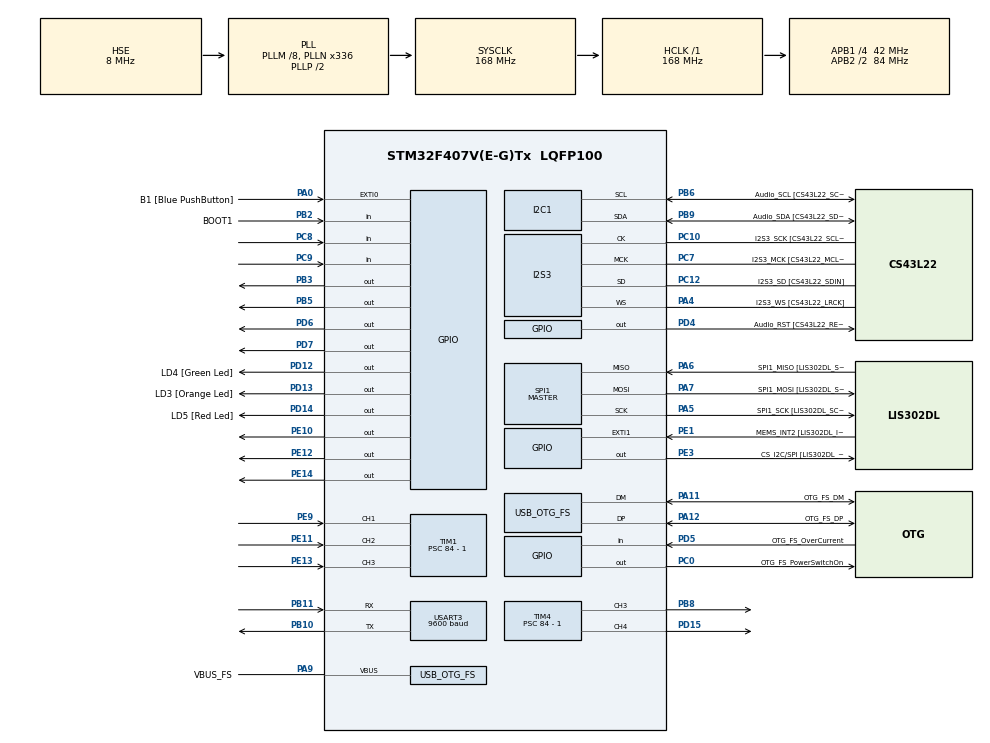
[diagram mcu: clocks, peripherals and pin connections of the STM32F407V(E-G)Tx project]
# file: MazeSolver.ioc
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I2S3.AudioFreq-Half_Duplex_Master=I2S_AUDIOFREQ_96K
I2S3.ErrorAudioFreq=-2.34 %
I2S3.ErrorAudioFreq-Half_Duplex_Master=0.8 %
I2S3.FullDuplexMode=I2S_FULLDUPLEXMODE_DISABLE
I2S3.Instance=SPI$Index
I2S3.RealAudioFreq=93.75 KHz
I2S3.RealAudioFreq-Half_Duplex_Master=96.774 KHz
I2S3.VirtualMode=I2S_MODE_MASTER
Mcu.Family=STM32F4
Mcu.Name=STM32F407V(E-G)Tx
Mcu.Package=LQFP100
NVIC.OTG_FS_IRQn=true\:0\:0\:false\:false\:true\:true\:true\:true
NVIC.PriorityGroup=NVIC_PRIORITYGROUP_0
NVIC.TIM1_CC_IRQn=true\:0\:0\:false\:false\:true\:true\:true\:true
NVIC.TIM4_IRQn=true\:0\:0\:false\:false\:true\:true\:true\:true
NVIC.USART3_IRQn=true\:0\:0\:false\:false\:true\:true\:true\:true
PA0-WKUP.GPIO_Label=B1 [Blue PushButton]
PA0-WKUP.GPIO_ModeDefaultEXTI=GPIO_MODE_EVT_RISING
PA0-WKUP.GPIO_PuPd=GPIO_NOPULL
PA0-WKUP.Signal=GPXTI0
PA10.GPIO_Label=OTG_FS_ID
PA10.GPIO_Mode=GPIO_MODE_AF_PP
PA10.GPIO_PuPd=GPIO_NOPULL
PA10.GPIO_Speed=GPIO_SPEED_FREQ_LOW
PA10.Signal=USB_OTG_FS_ID
PA11.GPIO_Label=OTG_FS_DM
PA11.GPIO_Mode=GPIO_MODE_AF_PP
PA11.GPIO_PuPd=GPIO_NOPULL
PA11.GPIO_Speed=GPIO_SPEED_FREQ_LOW
PA11.Mode=Host_Only
PA11.Signal=USB_OTG_FS_DM
PA12.GPIO_Label=OTG_FS_DP
PA12.GPIO_Mode=GPIO_MODE_AF_PP
PA12.GPIO_PuPd=GPIO_NOPULL
PA12.GPIO_Speed=GPIO_SPEED_FREQ_LOW
PA12.Mode=Host_Only
PA12.Signal=USB_OTG_FS_DP
PA13.GPIO_Label=SWDIO
PA13.Mode=Serial_Wire
PA13.Signal=SYS_JTMS-SWDIO
PA14.GPIO_Label=SWCLK
PA14.Mode=Serial_Wire
PA14.Signal=SYS_JTCK-SWCLK
PA4.GPIO_Label=I2S3_WS [CS43L22_LRCK]
PA4.GPIO_Mode=GPIO_MODE_AF_PP
PA4.GPIO_PuPd=GPIO_NOPULL
PA4.GPIO_Speed=GPIO_SPEED_FREQ_LOW
PA4.Mode=Half_Duplex_Master
PA4.Signal=I2S3_WS
PA5.GPIO_Label=SPI1_SCK [LIS302DL_SCL/SPC]
PA5.GPIO_Mode=GPIO_MODE_AF_PP
PA5.GPIO_PuPd=GPIO_NOPULL
PA5.GPIO_Speed=GPIO_SPEED_FREQ_LOW
PA5.Mode=Full_Duplex_Master
PA5.Signal=SPI1_SCK
PA6.GPIO_Label=SPI1_MISO [LIS302DL_SDO]
PA6.GPIO_Mode=GPIO_MODE_AF_PP
PA6.GPIO_PuPd=GPIO_NOPULL
PA6.GPIO_Speed=GPIO_SPEED_FREQ_LOW
PA6.Mode=Full_Duplex_Master
PA6.Signal=SPI1_MISO
PA7.GPIO_Label=SPI1_MOSI [LIS302DL_SDA/SDI/SDO]
PA7.GPIO_Mode=GPIO_MODE_AF_PP
PA7.GPIO_PuPd=GPIO_NOPULL
PA7.GPIO_Speed=GPIO_SPEED_FREQ_LOW
PA7.Mode=Full_Duplex_Master
PA7.Signal=SPI1_MOSI
PA9.GPIO_Label=VBUS_FS
PA9.GPIO_Mode=GPIO_MODE_INPUT
PA9.GPIO_PuPd=GPIO_NOPULL
PA9.Mode=Activate_VBUS
PA9.Signal=USB_OTG_FS_VBUS
PB10.Mode=Asynchronous
PB10.Signal=USART3_TX
PB11.Mode=Asynchronous
PB11.Signal=USART3_RX
PB2.GPIO_Label=BOOT1
PB2.GPIO_Mode=GPIO_MODE_INPUT
PB2.GPIO_PuPd=GPIO_NOPULL
PB2.Signal=GPIO_Input
PB3.Signal=GPIO_Output
PB5.Signal=GPIO_Output
PB6.GPIO_Label=Audio_SCL [CS43L22_SCL]
PB6.GPIO_Mode=GPIO_MODE_AF_OD
PB6.GPIO_Pu=GPIO_PULLUP
PB6.GPIO_PuPd=GPIO_NOPULL
PB6.GPIO_Speed=GPIO_SPEED_FREQ_LOW
PB6.Mode=I2C
PB6.Signal=I2C1_SCL
PB8.Signal=S_TIM4_CH3
PB9.GPIO_Label=Audio_SDA [CS43L22_SDA]
PB9.GPIO_Mode=GPIO_MODE_AF_OD
PB9.GPIO_Pu=GPIO_PULLUP
PB9.GPIO_PuPd=GPIO_NOPULL
PB9.GPIO_Speed=GPIO_SPEED_FREQ_LOW
PB9.Mode=I2C
PB9.Signal=I2C1_SDA
PC0.GPIO_Label=OTG_FS_PowerSwitchOn
PC0.GPIO_PuPd=GPIO_NOPULL
PC0.GPIO_Speed=GPIO_SPEED_FREQ_LOW
PC0.PinState=GPIO_PIN_SET
PC0.Signal=GPIO_Output
PC10.GPIO_Label=I2S3_SCK [CS43L22_SCLK]
PC10.GPIO_Mode=GPIO_MODE_AF_PP
PC10.GPIO_PuPd=GPIO_NOPULL
PC10.GPIO_Speed=GPIO_SPEED_FREQ_LOW
PC10.Mode=Half_Duplex_Master
PC10.Signal=I2S3_CK
PC12.GPIO_Label=I2S3_SD [CS43L22_SDIN]
PC12.GPIO_Mode=GPIO_MODE_AF_PP
PC12.GPIO_PuPd=GPIO_NOPULL
PC12.GPIO_Speed=GPIO_SPEED_FREQ_LOW
PC12.Mode=Half_Duplex_Master
PC12.Signal=I2S3_SD
PC14-OSC32_IN.GPIO_Label=PC14-OSC32_IN
PC14-OSC32_IN.Mode=LSE-External-Oscillator
PC14-OSC32_IN.Signal=RCC_OSC32_IN
PC15-OSC32_OUT.GPIO_Label=PC15-OSC32_OUT
PC15-OSC32_OUT.Mode=LSE-External-Oscillator
PC15-OSC32_OUT.Signal=RCC_OSC32_OUT
PC3.GPIO_Label=PDM_OUT [MP45DT02_DOUT]
PC3.GPIO_Mode=GPIO_MODE_AF_PP
PC3.GPIO_PuPd=GPIO_NOPULL
PC3.GPIO_Speed=GPIO_SPEED_FREQ_LOW
PC3.Signal=I2S2_SD
PC7.GPIO_Label=I2S3_MCK [CS43L22_MCLK]
PC7.GPIO_Mode=GPIO_MODE_AF_PP
PC7.GPIO_PuPd=GPIO_NOPULL
PC7.GPIO_Speed=GPIO_SPEED_FREQ_LOW
PC7.Mode=Master_Clock_Activated
PC7.Signal=I2S3_MCK
PC8.Signal=GPIO_Input
PC9.Signal=GPIO_Input
PD12.GPIO_Label=LD4 [Green Led]
PD12.GPIO_PuPd=GPIO_NOPULL
PD12.GPIO_Speed=GPIO_SPEED_FREQ_LOW
PD12.Signal=GPIO_Output
PD13.GPIO_Label=LD3 [Orange Led]
PD13.GPIO_PuPd=GPIO_NOPULL
PD13.GPIO_Speed=GPIO_SPEED_FREQ_LOW
PD13.Signal=GPIO_Output
PD14.GPIO_Label=LD5 [Red Led]
PD14.GPIO_PuPd=GPIO_NOPULL
PD14.GPIO_Speed=GPIO_SPEED_FREQ_LOW
PD14.Signal=GPIO_Output
PD15.Signal=S_TIM4_CH4
PD4.GPIO_Label=Audio_RST [CS43L22_RESET]
PD4.GPIO_PuPd=GPIO_NOPULL
PD4.GPIO_Speed=GPIO_SPEED_FREQ_LOW
PD4.Signal=GPIO_Output
PD5.GPIO_Label=OTG_FS_OverCurrent
PD5.GPIO_Mode=GPIO_MODE_INPUT
PD5.GPIO_PuPd=GPIO_NOPULL
PD5.Signal=GPIO_Input
PD6.Signal=GPIO_Output
PD7.Signal=GPIO_Output
PE1.GPIO_Label=MEMS_INT2 [LIS302DL_INT2]
PE1.GPIO_ModeDefaultEXTI=GPIO_MODE_EVT_RISING
PE1.GPIO_PuPd=GPIO_NOPULL
PE1.Signal=GPXTI1
PE10.Signal=GPIO_Output
PE11.Signal=S_TIM1_CH2
PE12.Signal=GPIO_Output
PE13.Signal=S_TIM1_CH3
PE14.Signal=GPIO_Output
PE3.GPIO_Label=CS_I2C/SPI [LIS302DL_CS_I2C/SPI]
PE3.GPIO_PuPd=GPIO_NOPULL
PE3.GPIO_Speed=GPIO_SPEED_FREQ_LOW
PE3.Signal=GPIO_Output
PE9.Signal=S_TIM1_CH1
PH0-OSC_IN.GPIO_Label=PH0-OSC_IN
PH0-OSC_IN.Mode=HSE-External-Oscillator
PH0-OSC_IN.Signal=RCC_OSC_IN
PH1-OSC_OUT.GPIO_Label=PH1-OSC_OUT
PH1-OSC_OUT.Mode=HSE-External-Oscillator
PH1-OSC_OUT.Signal=RCC_OSC_OUT
ProjectManager.HeapSize=0x200
ProjectManager.StackSize=0x400
ProjectManager.TargetToolchain=STM32CubeIDE
RCC.48MHZClocksFreq_Value=48000000
RCC.AHBFreq_Value=168000000
RCC.APB1CLKDivider=RCC_HCLK_DIV4
RCC.APB1Freq_Value=42000000
RCC.APB1TimFreq_Value=84000000
RCC.APB2CLKDivider=RCC_HCLK_DIV2
RCC.APB2Freq_Value=84000000
RCC.APB2TimFreq_Value=168000000
RCC.CortexFreq_Value=168000000
RCC.HCLKFreq_Value=168000000
RCC.HSE_VALUE=8000000
RCC.HSI_VALUE=16000000
RCC.PLLM=8
RCC.PLLN=336
RCC.PLLQ=7
RCC.SYSCLKFreq_VALUE=168000000
RCC.SYSCLKSource=RCC_SYSCLKSOURCE_PLLCLK
RCC.VCOOutputFreq_Value=336000000
SH.S_TIM1_CH1.0=TIM1_CH1,Input_Capture1_from_TI1
SH.S_TIM1_CH2.0=TIM1_CH2,Input_Capture2_from_TI2
SH.S_TIM1_CH3.0=TIM1_CH3,Input_Capture3_from_TI3
SH.S_TIM4_CH3.0=TIM4_CH3,PWM Generation3 CH3
SH.S_TIM4_CH4.0=TIM4_CH4,PWM Generation4 CH4
SPI1.BaudRatePrescaler-Full_Duplex_Master=SPI_BAUDRATEPRESCALER_2
SPI1.CalculateBaudRate-Full_Duplex_Master=42.0 MBits/s
SPI1.Direction=SPI_DIRECTION_2LINES
SPI1.Mode=SPI_MODE_MASTER
SPI1.Mode-Full_Duplex_Master=SPI_MODE_MASTER
SPI1.VirtualType=VM_MASTER
TIM1.Channel-Input_Capture1_from_TI1=TIM_CHANNEL_1
TIM1.Channel-Input_Capture2_from_TI2=TIM_CHANNEL_2
TIM1.Channel-Input_Capture3_from_TI3=TIM_CHANNEL_3
TIM1.Prescaler=84 - 1
TIM4.Channel-PWM\ Generation3\ CH3=TIM_CHANNEL_3
TIM4.Channel-PWM\ Generation4\ CH4=TIM_CHANNEL_4
TIM4.Prescaler=84 - 1
USART3.BaudRate=9600
USART3.VirtualMode=VM_ASYNC
USB_HOST.BSP.number=1
USB_HOST.USBH_HandleTypeDef-CDC_FS=hUsbHostFS
USB_HOST.VirtualModeFS=Cdc
USB_HOST0.BSP.STBoard=false
USB_HOST0.BSP.api=Unknown
USB_HOST0.BSP.instance=PC0
USB_HOST0.BSP.ip=GPIO
USB_HOST0.BSP.mode=Output
USB_HOST0.BSP.name=Drive_VBUS_FS
USB_HOST0.BSP.solution=PC0
USB_OTG_FS.VirtualMode=Host_Only
USB_OTG_FS.phy_itface=HCD_PHY_EMBEDDED
VP_TIM1_VS_ClockSourceINT.Mode=Internal
VP_USB_HOST_VS_USB_HOST_CDC_FS.Mode=CDC_FS
board=STM32F407G-DISC1

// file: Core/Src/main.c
/* USER CODE BEGIN Header */
/**
  ******************************************************************************
  * @file           : main.c
  * @brief          : Main program body
  ******************************************************************************
  * @attention
  *
  * Copyright (c) 2024 STMicroelectronics.
  * All rights reserved.
  *
  * This software is licensed under terms that can be found in the LICENSE file
  * in the root directory of this software component.
  * If no LICENSE file comes with this software, it is provided AS-IS.
  *
  ******************************************************************************
  */
/* USER CODE END Header */
#include "main.h"
#include "usb_host.h"

/* USER CODE BEGIN Includes */
#include "print.h"
#include "readUltraSoundSensor.h"
#include "motoare.h"
/* USER CODE END Includes */

I2C_HandleTypeDef hi2c1;

I2S_HandleTypeDef hi2s3;

SPI_HandleTypeDef hspi1;

TIM_HandleTypeDef htim1;
TIM_HandleTypeDef htim4;

UART_HandleTypeDef huart3;

void SystemClock_Config(void);
static void MX_GPIO_Init(void);
static void MX_I2C1_Init(void);
static void MX_I2S3_Init(void);
static void MX_SPI1_Init(void);
static void MX_USART3_UART_Init(void);
static void MX_TIM1_Init(void);
static void MX_TIM4_Init(void);
void MX_USB_HOST_Process(void);

int main(void)
{

  /* MCU Configuration--------------------------------------------------------*/

  /* Reset of all peripherals, Initializes the Flash interface and the Systick. */
  HAL_Init();

  /* Configure the system clock */
  SystemClock_Config();

  /* Initialize all configured peripherals */
  MX_GPIO_Init();
  MX_I2C1_Init();
  MX_I2S3_Init();
  MX_SPI1_Init();
  MX_USB_HOST_Init();
  MX_USART3_UART_Init();
  MX_TIM1_Init();
  MX_TIM4_Init();
  /* USER CODE BEGIN 2 */
	HAL_TIM_IC_Start_IT(&htim1, TIM_CHANNEL_1);
	HAL_TIM_IC_Start_IT(&htim1, TIM_CHANNEL_2);
	HAL_TIM_IC_Start_IT(&htim1, TIM_CHANNEL_3);

	HAL_TIM_PWM_Start(&htim4 , TIM_CHANNEL_3);
	HAL_TIM_PWM_Start(&htim4 , TIM_CHANNEL_4);
  //uint8_t ce_primesc;
  //GPIO_PinState pinState;

	int i = 1 , j = 10 ;
  /* USER CODE END 2 */

  /* Infinite loop */
  while (1)
  {
    MX_USB_HOST_Process();

    /* USER CODE BEGIN 3 */

    //HAL_UART_Transmit(&huart3, (uint8_t *)"hello\r\n", 7, HAL_MAX_DELAY);
//    printf("Hello HC-05\r\n");

//    pinState = HAL_GPIO_ReadPin(GPIOA,GPIO_PIN_3);
//   	  if(pinState == GPIO_PIN_RESET){
//   		  HAL_GPIO_WritePin(GPIOD,GPIO_PIN_15,GPIO_PIN_SET);
//   		HAL_GPIO_WritePin(GPIOD,GPIO_PIN_14,GPIO_PIN_SET);
//   	  }else{
//   		  HAL_GPIO_WritePin(GPIOD,GPIO_PIN_15,GPIO_PIN_RESET);
//   		HAL_GPIO_WritePin(GPIOD,GPIO_PIN_14,GPIO_PIN_RESET);
//   	  }

//    if(HAL_GPIO_ReadPin(GPIOC,GPIO_PIN_8) == GPIO_PIN_RESET ){
//    	i-- ;
//    }
//    if(HAL_GPIO_ReadPin(GPIOC,GPIO_PIN_9) == GPIO_PIN_RESET ){
//        	j-- ;
//        }
//    if(i > 0 || j > 0){
//    	mersInainte(5);
//    }else {
//    	stopMotoare();
//    }

//    curbaDreapta(25);
//    HAL_Delay(1000);
//    stopMotoare();
//    HAL_Delay(100);
//    curbaStanga(25);
//    HAL_Delay(1000);
//    stopMotoare();

    mersInainte(75);
    //return 0;

//    uint8_t putere = 100;
//    mersInainte(putere);
//    for(int i = 0 ; i <= 100 ; i++){
//  	  mersInainte(i);
//  	  HAL_Delay(50);
//    }
//    for(int i = 100 ; i >= 1 ; i--){
//    	  mersInainte(i);
//    	  HAL_Delay(50);
//      }

    HCSR04_Read(1);
    HCSR04_Read(2);
    HCSR04_Read(3);
    printf("S1 : %d			S2 : %d			S3 : %d\r\n",Distance1,Distance2,Distance3);
    HAL_Delay(100);
  }
  /* USER CODE END 3 */
}

void SystemClock_Config(void)
{
  RCC_OscInitTypeDef RCC_OscInitStruct = {0};
  RCC_ClkInitTypeDef RCC_ClkInitStruct = {0};

  /** Configure the main internal regulator output voltage
  */
  __HAL_RCC_PWR_CLK_ENABLE();
  __HAL_PWR_VOLTAGESCALING_CONFIG(PWR_REGULATOR_VOLTAGE_SCALE1);

  /** Initializes the RCC Oscillators according to the specified parameters
  * in the RCC_OscInitTypeDef structure.
  */
  RCC_OscInitStruct.OscillatorType = RCC_OSCILLATORTYPE_HSE;
  RCC_OscInitStruct.HSEState = RCC_HSE_ON;
  RCC_OscInitStruct.PLL.PLLState = RCC_PLL_ON;
  RCC_OscInitStruct.PLL.PLLSource = RCC_PLLSOURCE_HSE;
  RCC_OscInitStruct.PLL.PLLM = 8;
  RCC_OscInitStruct.PLL.PLLN = 336;
  RCC_OscInitStruct.PLL.PLLP = RCC_PLLP_DIV2;
  RCC_OscInitStruct.PLL.PLLQ = 7;
  if (HAL_RCC_OscConfig(&RCC_OscInitStruct) != HAL_OK)
  {
    Error_Handler();
  }

  /** Initializes the CPU, AHB and APB buses clocks
  */
  RCC_ClkInitStruct.ClockType = RCC_CLOCKTYPE_HCLK|RCC_CLOCKTYPE_SYSCLK
                              |RCC_CLOCKTYPE_PCLK1|RCC_CLOCKTYPE_PCLK2;
  RCC_ClkInitStruct.SYSCLKSource = RCC_SYSCLKSOURCE_PLLCLK;
  RCC_ClkInitStruct.AHBCLKDivider = RCC_SYSCLK_DIV1;
  RCC_ClkInitStruct.APB1CLKDivider = RCC_HCLK_DIV4;
  RCC_ClkInitStruct.APB2CLKDivider = RCC_HCLK_DIV2;

  if (HAL_RCC_ClockConfig(&RCC_ClkInitStruct, FLASH_LATENCY_5) != HAL_OK)
  {
    Error_Handler();
  }
}

static void MX_I2C1_Init(void)
{

  hi2c1.Instance = I2C1;
  hi2c1.Init.ClockSpeed = 100000;
  hi2c1.Init.DutyCycle = I2C_DUTYCYCLE_2;
  hi2c1.Init.OwnAddress1 = 0;
  hi2c1.Init.AddressingMode = I2C_ADDRESSINGMODE_7BIT;
  hi2c1.Init.DualAddressMode = I2C_DUALADDRESS_DISABLE;
  hi2c1.Init.OwnAddress2 = 0;
  hi2c1.Init.GeneralCallMode = I2C_GENERALCALL_DISABLE;
  hi2c1.Init.NoStretchMode = I2C_NOSTRETCH_DISABLE;
  if (HAL_I2C_Init(&hi2c1) != HAL_OK)
  {
    Error_Handler();
  }

}

static void MX_I2S3_Init(void)
{

  hi2s3.Instance = SPI3;
  hi2s3.Init.Mode = I2S_MODE_MASTER_TX;
  hi2s3.Init.Standard = I2S_STANDARD_PHILIPS;
  hi2s3.Init.DataFormat = I2S_DATAFORMAT_16B;
  hi2s3.Init.MCLKOutput = I2S_MCLKOUTPUT_ENABLE;
  hi2s3.Init.AudioFreq = I2S_AUDIOFREQ_96K;
  hi2s3.Init.CPOL = I2S_CPOL_LOW;
  hi2s3.Init.ClockSource = I2S_CLOCK_PLL;
  hi2s3.Init.FullDuplexMode = I2S_FULLDUPLEXMODE_DISABLE;
  if (HAL_I2S_Init(&hi2s3) != HAL_OK)
  {
    Error_Handler();
  }

}

static void MX_SPI1_Init(void)
{

  /* SPI1 parameter configuration*/
  hspi1.Instance = SPI1;
  hspi1.Init.Mode = SPI_MODE_MASTER;
  hspi1.Init.Direction = SPI_DIRECTION_2LINES;
  hspi1.Init.DataSize = SPI_DATASIZE_8BIT;
  hspi1.Init.CLKPolarity = SPI_POLARITY_LOW;
  hspi1.Init.CLKPhase = SPI_PHASE_1EDGE;
  hspi1.Init.NSS = SPI_NSS_SOFT;
  hspi1.Init.BaudRatePrescaler = SPI_BAUDRATEPRESCALER_2;
  hspi1.Init.FirstBit = SPI_FIRSTBIT_MSB;
  hspi1.Init.TIMode = SPI_TIMODE_DISABLE;
  hspi1.Init.CRCCalculation = SPI_CRCCALCULATION_DISABLE;
  hspi1.Init.CRCPolynomial = 10;
  if (HAL_SPI_Init(&hspi1) != HAL_OK)
  {
    Error_Handler();
  }

}

static void MX_TIM1_Init(void)
{

  TIM_ClockConfigTypeDef sClockSourceConfig = {0};
  TIM_MasterConfigTypeDef sMasterConfig = {0};
  TIM_IC_InitTypeDef sConfigIC = {0};

  htim1.Instance = TIM1;
  htim1.Init.Prescaler = 84 - 1;
  htim1.Init.CounterMode = TIM_COUNTERMODE_UP;
  htim1.Init.Period = 65535;
  htim1.Init.ClockDivision = TIM_CLOCKDIVISION_DIV1;
  htim1.Init.RepetitionCounter = 0;
  htim1.Init.AutoReloadPreload = TIM_AUTORELOAD_PRELOAD_DISABLE;
  if (HAL_TIM_Base_Init(&htim1) != HAL_OK)
  {
    Error_Handler();
  }
  sClockSourceConfig.ClockSource = TIM_CLOCKSOURCE_INTERNAL;
  if (HAL_TIM_ConfigClockSource(&htim1, &sClockSourceConfig) != HAL_OK)
  {
    Error_Handler();
  }
  if (HAL_TIM_IC_Init(&htim1) != HAL_OK)
  {
    Error_Handler();
  }
  sMasterConfig.MasterOutputTrigger = TIM_TRGO_RESET;
  sMasterConfig.MasterSlaveMode = TIM_MASTERSLAVEMODE_DISABLE;
  if (HAL_TIMEx_MasterConfigSynchronization(&htim1, &sMasterConfig) != HAL_OK)
  {
    Error_Handler();
  }
  sConfigIC.ICPolarity = TIM_INPUTCHANNELPOLARITY_RISING;
  sConfigIC.ICSelection = TIM_ICSELECTION_DIRECTTI;
  sConfigIC.ICPrescaler = TIM_ICPSC_DIV1;
  sConfigIC.ICFilter = 0;
  if (HAL_TIM_IC_ConfigChannel(&htim1, &sConfigIC, TIM_CHANNEL_1) != HAL_OK)
  {
    Error_Handler();
  }
  if (HAL_TIM_IC_ConfigChannel(&htim1, &sConfigIC, TIM_CHANNEL_2) != HAL_OK)
  {
    Error_Handler();
  }
  if (HAL_TIM_IC_ConfigChannel(&htim1, &sConfigIC, TIM_CHANNEL_3) != HAL_OK)
  {
    Error_Handler();
  }

}

static void MX_TIM4_Init(void)
{

  TIM_MasterConfigTypeDef sMasterConfig = {0};
  TIM_OC_InitTypeDef sConfigOC = {0};

  htim4.Instance = TIM4;
  htim4.Init.Prescaler = 84 - 1;
  htim4.Init.CounterMode = TIM_COUNTERMODE_UP;
  htim4.Init.Period = 65535;
  htim4.Init.ClockDivision = TIM_CLOCKDIVISION_DIV1;
  htim4.Init.AutoReloadPreload = TIM_AUTORELOAD_PRELOAD_DISABLE;
  if (HAL_TIM_PWM_Init(&htim4) != HAL_OK)
  {
    Error_Handler();
  }
  sMasterConfig.MasterOutputTrigger = TIM_TRGO_RESET;
  sMasterConfig.MasterSlaveMode = TIM_MASTERSLAVEMODE_DISABLE;
  if (HAL_TIMEx_MasterConfigSynchronization(&htim4, &sMasterConfig) != HAL_OK)
  {
    Error_Handler();
  }
  sConfigOC.OCMode = TIM_OCMODE_PWM1;
  sConfigOC.Pulse = 0;
  sConfigOC.OCPolarity = TIM_OCPOLARITY_HIGH;
  sConfigOC.OCFastMode = TIM_OCFAST_DISABLE;
  if (HAL_TIM_PWM_ConfigChannel(&htim4, &sConfigOC, TIM_CHANNEL_3) != HAL_OK)
  {
    Error_Handler();
  }
  if (HAL_TIM_PWM_ConfigChannel(&htim4, &sConfigOC, TIM_CHANNEL_4) != HAL_OK)
  {
    Error_Handler();
  }
  HAL_TIM_MspPostInit(&htim4);

}

static void MX_USART3_UART_Init(void)
{

  huart3.Instance = USART3;
  huart3.Init.BaudRate = 9600;
  huart3.Init.WordLength = UART_WORDLENGTH_8B;
  huart3.Init.StopBits = UART_STOPBITS_1;
  huart3.Init.Parity = UART_PARITY_NONE;
  huart3.Init.Mode = UART_MODE_TX_RX;
  huart3.Init.HwFlowCtl = UART_HWCONTROL_NONE;
  huart3.Init.OverSampling = UART_OVERSAMPLING_16;
  if (HAL_UART_Init(&huart3) != HAL_OK)
  {
    Error_Handler();
  }

}

static void MX_GPIO_Init(void)
{
  GPIO_InitTypeDef GPIO_InitStruct = {0};

  /* GPIO Ports Clock Enable */
  __HAL_RCC_GPIOE_CLK_ENABLE();
  __HAL_RCC_GPIOC_CLK_ENABLE();
  __HAL_RCC_GPIOH_CLK_ENABLE();
  __HAL_RCC_GPIOA_CLK_ENABLE();
  __HAL_RCC_GPIOB_CLK_ENABLE();
  __HAL_RCC_GPIOD_CLK_ENABLE();

  /*Configure GPIO pin Output Level */
  HAL_GPIO_WritePin(GPIOE, CS_I2C_SPI_Pin|GPIO_PIN_10|GPIO_PIN_12|GPIO_PIN_14, GPIO_PIN_RESET);

  /*Configure GPIO pin Output Level */
  HAL_GPIO_WritePin(OTG_FS_PowerSwitchOn_GPIO_Port, OTG_FS_PowerSwitchOn_Pin, GPIO_PIN_SET);

  /*Configure GPIO pin Output Level */
  HAL_GPIO_WritePin(GPIOD, LD4_Pin|LD3_Pin|LD5_Pin|Audio_RST_Pin
                          |GPIO_PIN_6|GPIO_PIN_7, GPIO_PIN_RESET);

  /*Configure GPIO pin Output Level */
  HAL_GPIO_WritePin(GPIOB, GPIO_PIN_3|GPIO_PIN_5, GPIO_PIN_RESET);

  /*Configure GPIO pins : CS_I2C_SPI_Pin PE10 PE12 PE14 */
  GPIO_InitStruct.Pin = CS_I2C_SPI_Pin|GPIO_PIN_10|GPIO_PIN_12|GPIO_PIN_14;
  GPIO_InitStruct.Mode = GPIO_MODE_OUTPUT_PP;
  GPIO_InitStruct.Pull = GPIO_NOPULL;
  GPIO_InitStruct.Speed = GPIO_SPEED_FREQ_LOW;
  HAL_GPIO_Init(GPIOE, &GPIO_InitStruct);

  /*Configure GPIO pin : OTG_FS_PowerSwitchOn_Pin */
  GPIO_InitStruct.Pin = OTG_FS_PowerSwitchOn_Pin;
  GPIO_InitStruct.Mode = GPIO_MODE_OUTPUT_PP;
  GPIO_InitStruct.Pull = GPIO_NOPULL;
  GPIO_InitStruct.Speed = GPIO_SPEED_FREQ_LOW;
  HAL_GPIO_Init(OTG_FS_PowerSwitchOn_GPIO_Port, &GPIO_InitStruct);

  /*Configure GPIO pin : PDM_OUT_Pin */
  GPIO_InitStruct.Pin = PDM_OUT_Pin;
  GPIO_InitStruct.Mode = GPIO_MODE_AF_PP;
  GPIO_InitStruct.Pull = GPIO_NOPULL;
  GPIO_InitStruct.Speed = GPIO_SPEED_FREQ_LOW;
  GPIO_InitStruct.Alternate = GPIO_AF5_SPI2;
  HAL_GPIO_Init(PDM_OUT_GPIO_Port, &GPIO_InitStruct);

  /*Configure GPIO pin : B1_Pin */
  GPIO_InitStruct.Pin = B1_Pin;
  GPIO_InitStruct.Mode = GPIO_MODE_EVT_RISING;
  GPIO_InitStruct.Pull = GPIO_NOPULL;
  HAL_GPIO_Init(B1_GPIO_Port, &GPIO_InitStruct);

  /*Configure GPIO pin : BOOT1_Pin */
  GPIO_InitStruct.Pin = BOOT1_Pin;
  GPIO_InitStruct.Mode = GPIO_MODE_INPUT;
  GPIO_InitStruct.Pull = GPIO_NOPULL;
  HAL_GPIO_Init(BOOT1_GPIO_Port, &GPIO_InitStruct);

  /*Configure GPIO pins : LD4_Pin LD3_Pin LD5_Pin Audio_RST_Pin
                           PD6 PD7 */
  GPIO_InitStruct.Pin = LD4_Pin|LD3_Pin|LD5_Pin|Audio_RST_Pin
                          |GPIO_PIN_6|GPIO_PIN_7;
  GPIO_InitStruct.Mode = GPIO_MODE_OUTPUT_PP;
  GPIO_InitStruct.Pull = GPIO_NOPULL;
  GPIO_InitStruct.Speed = GPIO_SPEED_FREQ_LOW;
  HAL_GPIO_Init(GPIOD, &GPIO_InitStruct);

  /*Configure GPIO pins : PC8 PC9 */
  GPIO_InitStruct.Pin = GPIO_PIN_8|GPIO_PIN_9;
  GPIO_InitStruct.Mode = GPIO_MODE_INPUT;
  GPIO_InitStruct.Pull = GPIO_NOPULL;
  HAL_GPIO_Init(GPIOC, &GPIO_InitStruct);

  /*Configure GPIO pin : OTG_FS_OverCurrent_Pin */
  GPIO_InitStruct.Pin = OTG_FS_OverCurrent_Pin;
  GPIO_InitStruct.Mode = GPIO_MODE_INPUT;
  GPIO_InitStruct.Pull = GPIO_NOPULL;
  HAL_GPIO_Init(OTG_FS_OverCurrent_GPIO_Port, &GPIO_InitStruct);

  /*Configure GPIO pins : PB3 PB5 */
  GPIO_InitStruct.Pin = GPIO_PIN_3|GPIO_PIN_5;
  GPIO_InitStruct.Mode = GPIO_MODE_OUTPUT_PP;
  GPIO_InitStruct.Pull = GPIO_NOPULL;
  GPIO_InitStruct.Speed = GPIO_SPEED_FREQ_LOW;
  HAL_GPIO_Init(GPIOB, &GPIO_InitStruct);

  /*Configure GPIO pin : MEMS_INT2_Pin */
  GPIO_InitStruct.Pin = MEMS_INT2_Pin;
  GPIO_InitStruct.Mode = GPIO_MODE_EVT_RISING;
  GPIO_InitStruct.Pull = GPIO_NOPULL;
  HAL_GPIO_Init(MEMS_INT2_GPIO_Port, &GPIO_InitStruct);

/* USER CODE BEGIN MX_GPIO_Init_2 */
  //Configure GPIO pin for Echo (PE9)

     GPIO_InitStruct.Pin = GPIO_PIN_9;
     GPIO_InitStruct.Mode = GPIO_MODE_INPUT;
     GPIO_InitStruct.Pull = GPIO_NOPULL;
     HAL_GPIO_Init(GPIOE, &GPIO_InitStruct);

     //Configure GPIO pin for Echo (PE11)

        GPIO_InitStruct.Pin = GPIO_PIN_11;
        GPIO_InitStruct.Mode = GPIO_MODE_INPUT;
        GPIO_InitStruct.Pull = GPIO_NOPULL;
        HAL_GPIO_Init(GPIOE, &GPIO_InitStruct);

        //Configure GPIO pin for Echo (PE13)

           GPIO_InitStruct.Pin = GPIO_PIN_13;
           GPIO_InitStruct.Mode = GPIO_MODE_INPUT;
           GPIO_InitStruct.Pull = GPIO_NOPULL;
           HAL_GPIO_Init(GPIOE, &GPIO_InitStruct);

/* USER CODE END MX_GPIO_Init_2 */
}

void Error_Handler(void)
{
  __disable_irq();
  while (1)
  {
  }
}
